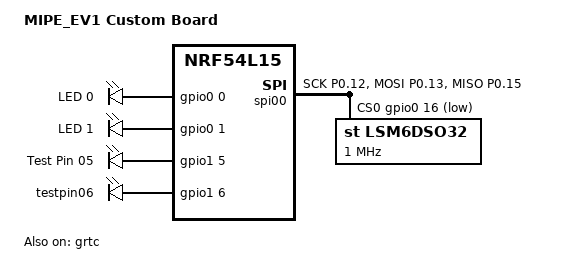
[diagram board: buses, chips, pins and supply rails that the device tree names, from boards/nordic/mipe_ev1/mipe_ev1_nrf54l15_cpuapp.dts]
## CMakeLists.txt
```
# SPDX-License-Identifier: Apache-2.0

cmake_minimum_required(VERSION 3.20.0)

# Tell Zephyr where to find our custom board
list(APPEND BOARD_ROOT ${CMAKE_CURRENT_SOURCE_DIR})

find_package(Zephyr REQUIRED HINTS $ENV{ZEPHYR_BASE})
project(mipe_ev1_gpio_test)

target_sources(app PRIVATE src/main.c)
```

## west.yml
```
manifest:
  version: "0.13"

  defaults:
    remote: ncs

  remotes:
    - name: ncs
      url-base: https://github.com/nrfconnect

  projects:
    - name: nrf
      remote: ncs
      path: nrf
      revision: v2.8.0
    - name: zephyr
      remote: ncs
      path: zephyr
      revision: v3.7.99-ncs1
    - name: mcuboot
      remote: ncs
      path: bootloader/mcuboot
      revision: v2.1.0+ncs1
    - name: nrfxlib
      remote: ncs
      path: nrfxlib
      revision: v2.8.0
    - name: trusted-firmware-m
      remote: ncs
      path: modules/tee/tf-m/trusted-firmware-m
      revision: v2.0.0+ncs1

  self:
    path: mipe_ev1_app
```

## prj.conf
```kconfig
# MIPE_EV1 Milestone 1: GPIO Test
# Minimal configuration - GPIO only, no timers, no sleep

# Disable crypto/security
CONFIG_BUILD_WITH_TFM=n
CONFIG_NRF_SECURITY=n

# Enable GPIO driver
CONFIG_GPIO=y

# Re-enable System Timer for k_msleep() functionality
CONFIG_SYS_CLOCK_EXISTS=y
CONFIG_TICKLESS_KERNEL=y
CONFIG_NRF_GRTC_TIMER=y

# Disable ALL watchdogs and resets
CONFIG_WATCHDOG=n
CONFIG_WDT_DISABLE_AT_BOOT=y
CONFIG_WDT_NRFX=n

# RTT Logging for Hardware Monitoring
CONFIG_USE_SEGGER_RTT=y
CONFIG_CONSOLE=y
CONFIG_RTT_CONSOLE=y
CONFIG_UART_CONSOLE=n
CONFIG_LOG=y
CONFIG_LOG_BACKEND_RTT=y
CONFIG_LOG_BACKEND_UART=n
CONFIG_LOG_MODE_IMMEDIATE=y
CONFIG_LOG_TIMESTAMP_64BIT=y

# Disable power management
CONFIG_PM=n
CONFIG_PM_DEVICE=n

# Disable system init levels that might cause issues
CONFIG_KERNEL_INIT_PRIORITY_DEFAULT=50
```

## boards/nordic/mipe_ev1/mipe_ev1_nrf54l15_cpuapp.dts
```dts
/*
 * Copyright (c) 2025 MIPE_EV1 Project
 * SPDX-License-Identifier: Apache-2.0
 */

/dts-v1/;

#include <nordic/nrf54l15_cpuapp.dtsi>

/ {
	model = "MIPE_EV1 Custom Board";
	compatible = "mipe,mipe-ev1";

	chosen {
		zephyr,sram = &cpuapp_sram;
		zephyr,flash = &cpuapp_rram;
		zephyr,code-partition = &slot0_partition;
	};

	leds {
		compatible = "gpio-leds";
		led0: led_0 {
			gpios = <&gpio0 0 GPIO_ACTIVE_HIGH>;
			label = "LED 0";
		};
		led1: led_1 {
			gpios = <&gpio0 1 GPIO_ACTIVE_HIGH>;
			label = "LED 1";
		};
	};

	test_pins {
		compatible = "gpio-leds";
		testpin05: test_pin_05 {
			gpios = <&gpio1 5 GPIO_ACTIVE_HIGH>;
			label = "Test Pin 05";
		};
		testpin06: test_pin_06 {
			gpios = <&gpio1 6 GPIO_ACTIVE_HIGH>;
		};
	};

	/* SPI pinctrl configuration for LSM6DSO32 */
	pinctrl {
		compatible = "nordic,nrf-pinctrl";

		/omit-if-no-ref/ spi00_default: spi00_default {
			group1 {
				psels = <NRF_PSEL(SPIM_SCK, 0, 12)>,   /* P2.01 = pin 12 */
				        <NRF_PSEL(SPIM_MOSI, 0, 13)>,  /* P2.02 = pin 13 */
				        <NRF_PSEL(SPIM_MISO, 0, 15)>;  /* P2.04 = pin 15 */
			};
		};

		/omit-if-no-ref/ spi00_sleep: spi00_sleep {
			group1 {
				psels = <NRF_PSEL(SPIM_SCK, 0, 12)>,   /* P2.01 = pin 12 */
				        <NRF_PSEL(SPIM_MOSI, 0, 13)>,  /* P2.02 = pin 13 */
				        <NRF_PSEL(SPIM_MISO, 0, 15)>;  /* P2.04 = pin 15 */
				low-power-enable;
			};
		};
	};

	aliases {
		led0 = &led0;
		led1 = &led1;
		testpin05 = &testpin05;
		testpin06 = &testpin06;
	};
};

/* Enable GPIO ports */
&gpio0 {
	status = "okay";
};

&gpio1 {
	status = "okay";
};

&gpio2 {
	status = "okay";
};

/* Enable GPIOTE instances - REQUIRED for GPIO operations */
&gpiote20 {
	status = "okay";
};

&gpiote30 {
	status = "okay";
};

/* Enable SPI for LSM6DSO32 sensor communication */
&spi00 {
	status = "okay";
	cs-gpios = <&gpio0 16 GPIO_ACTIVE_LOW>;  /* P2.05 = pin 16 */
	pinctrl-0 = <&spi00_default>;
	pinctrl-1 = <&spi00_sleep>;
	pinctrl-names = "default", "sleep";

	lsm6dso32: lsm6dso32@0 {
		compatible = "st,lsm6dso32";
		reg = <0>;
		spi-max-frequency = <1000000>; /* 1MHz for stable communication */
		label = "LSM6DSO32";
	};
};

/* Re-enable GRTC timer - minimal required configuration */
&grtc {
	owned-channels = <0>;
	status = "okay";
};

/* Include partition configuration */
#include <nordic/nrf54l15_partition.dtsi>
```

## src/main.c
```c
/**
 * MIPE_EV1 Cloud Automation Ready!
 * Cloud testing optimization complete
 * Testing simplified automation: run firmware and log it
 * Proven 23ms timing pattern from MIPE_EV1
 * RTT Hardware Monitoring Integration
 */

#include <zephyr/kernel.h>
#include <zephyr/device.h>
#include <zephyr/drivers/gpio.h>
#include <zephyr/logging/log.h>
#include <zephyr/sys/printk.h>

LOG_MODULE_REGISTER(mipe_ev1_gpio, LOG_LEVEL_DBG);

/* LEDs on P0.00 and P0.01 */
static const struct gpio_dt_spec led0 = GPIO_DT_SPEC_GET(DT_ALIAS(led0), gpios);
static const struct gpio_dt_spec led1 = GPIO_DT_SPEC_GET(DT_ALIAS(led1), gpios);

/* Test pins on P1.05 and P1.06 */
static const struct gpio_dt_spec test_pin05 = GPIO_DT_SPEC_GET(DT_ALIAS(testpin05), gpios);
static const struct gpio_dt_spec test_pin06 = GPIO_DT_SPEC_GET(DT_ALIAS(testpin06), gpios);

int main(void)
{
    LOG_INF("🚀 MIPE_EV1 GPIO Test Started - Hardware Monitoring Active");
    LOG_INF("⏱️  Target timing: 23ms toggle cycles");
    LOG_INF("📊 RTT timestamping enabled for Actions monitoring");
    
    /* Configure pin directions - PROVEN pattern */
    LOG_DBG("🔧 Configuring GPIO pins...");
    gpio_pin_configure_dt(&led0, GPIO_OUTPUT);
    gpio_pin_configure_dt(&led1, GPIO_OUTPUT);
    gpio_pin_configure_dt(&test_pin05, GPIO_OUTPUT);
    gpio_pin_configure_dt(&test_pin06, GPIO_OUTPUT);
    LOG_INF("✅ GPIO configuration complete");

    /* Set initial states - all LOW */
    LOG_DBG("🔽 Setting initial pin states to LOW");
    gpio_pin_set_dt(&led0, 0);
    gpio_pin_set_dt(&led1, 0);
    gpio_pin_set_dt(&test_pin05, 0);
    gpio_pin_set_dt(&test_pin06, 0);
    LOG_INF("✅ Initial states set - pins ready for testing");

    bool led_state = false;
    uint32_t counter = 0;
    uint32_t cycle_count = 0;
    const uint32_t toggle_threshold = 1000000;  /* Proven 23ms timing from EV1 */
    
    LOG_INF("🔄 Starting GPIO toggle loop - monitoring for Actions");
    LOG_INF("📈 Toggle threshold: %u cycles (≈23ms)", toggle_threshold);
    
    while (1) {
        counter++;
        
        if (counter >= toggle_threshold) {
            cycle_count++;
            
            /* Log every 10th cycle for Actions monitoring */
            if (cycle_count % 10 == 0) {
                LOG_INF("🔄 Cycle %u: Toggling pins (23ms timing verified)", cycle_count);
            }
            
            /* Toggle all pins with proven pattern */
            led_state = !led_state;
            LOG_DBG("📍 Toggle event: state=%s, cycle=%u", 
                    led_state ? "HIGH" : "LOW", cycle_count);
                    
            gpio_pin_set_dt(&led0, led_state ? 1 : 0);
            gpio_pin_set_dt(&led1, led_state ? 0 : 1);  /* Opposite phase */
            gpio_pin_set_dt(&test_pin05, led_state ? 1 : 0);  /* Same as LED0 */
            gpio_pin_set_dt(&test_pin06, led_state ? 0 : 1);  /* Same as LED1 */
            
            /* Log timing validation for Actions */
            if (cycle_count % 50 == 0) {
                LOG_INF("⏱️  Timing validation: %u cycles completed (≈%ums total)", 
                        cycle_count, cycle_count * 23);
            }
            
            counter = 0;
        }
    }

    return 0;
}
```

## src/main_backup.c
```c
/**
 * MIPE_EV1 - Timer Test
 * 200ms LED flashing + GPIO control
 */

#include <zephyr/kernel.h>
#include <zephyr/device.h>
#include <zephyr/drivers/gpio.h>

/* LEDs on P0.00 and P0.01 */
static const struct gpio_dt_spec led0 = GPIO_DT_SPEC_GET(DT_ALIAS(led0), gpios);
static const struct gpio_dt_spec led1 = GPIO_DT_SPEC_GET(DT_ALIAS(led1), gpios);

/* Test pins on P1.05 and P1.06 */
static const struct gpio_dt_spec test_pin05 = GPIO_DT_SPEC_GET(DT_ALIAS(testpin05), gpios);
static const struct gpio_dt_spec test_pin06 = GPIO_DT_SPEC_GET(DT_ALIAS(testpin06), gpios);

int main(void)
{
	/* Configure all pins as outputs using correct pattern */
	gpio_pin_configure_dt(&led0, GPIO_OUTPUT);         /* P0.00 LED */
	gpio_pin_configure_dt(&led1, GPIO_OUTPUT);         /* P0.01 LED */
	gpio_pin_configure_dt(&test_pin05, GPIO_OUTPUT);   /* P1.05 */
	gpio_pin_configure_dt(&test_pin06, GPIO_OUTPUT);   /* P1.06 */
	
	/* Set initial states - all LOW */
	gpio_pin_set_dt(&led0, 0);         /* Start OFF */
	gpio_pin_set_dt(&led1, 0);         /* Start OFF */
	gpio_pin_set_dt(&test_pin05, 0);   /* Start LOW */
	gpio_pin_set_dt(&test_pin06, 0);   /* Start LOW */

	bool led_state = false;

	/* Busy-wait control loop - NO k_msleep for accurate timing */
	uint32_t counter = 0;
	const uint32_t toggle_threshold = 1000000;  /* Adjust for desired timing */
	
	while (1) {
		/* Increment counter for timing */
		counter++;
		
		/* Toggle every threshold cycles */
		if (counter >= toggle_threshold) {
			led_state = !led_state;
			gpio_pin_set_dt(&led0, led_state ? 1 : 0);
			gpio_pin_set_dt(&led1, led_state ? 0 : 1);  /* Opposite phase */
			
			/* Copy LED0 behavior to P1.05 for scope measurement */
			gpio_pin_set_dt(&test_pin05, led_state ? 1 : 0);  /* Same as LED0 */
			
			/* P1.06 gets opposite pattern for comparison */
			gpio_pin_set_dt(&test_pin06, led_state ? 0 : 1);  /* Same as LED1 */
			
			counter = 0;  /* Reset counter */
		}
	}

	return 0;
}
```

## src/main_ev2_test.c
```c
/**
 * MIPE_EV2 Test - GPIO Test  
 * Proven 23ms timing pattern from MIPE_EV1
 */

#include <zephyr/kernel.h>
#include <zephyr/device.h>
#include <zephyr/drivers/gpio.h>

/* LEDs on P0.00 and P0.01 */
static const struct gpio_dt_spec led0 = GPIO_DT_SPEC_GET(DT_ALIAS(led0), gpios);
static const struct gpio_dt_spec led1 = GPIO_DT_SPEC_GET(DT_ALIAS(led1), gpios);

/* Test pins on P1.05 and P1.06 */
static const struct gpio_dt_spec test_pin05 = GPIO_DT_SPEC_GET(DT_ALIAS(testpin05), gpios);
static const struct gpio_dt_spec test_pin06 = GPIO_DT_SPEC_GET(DT_ALIAS(testpin06), gpios);

int main(void)
{
    /* Configure pin directions - PROVEN pattern */
    gpio_pin_configure_dt(&led0, GPIO_OUTPUT);
    gpio_pin_configure_dt(&led1, GPIO_OUTPUT);
    gpio_pin_configure_dt(&test_pin05, GPIO_OUTPUT);
    gpio_pin_configure_dt(&test_pin06, GPIO_OUTPUT);

    /* Set initial states - all LOW */
    gpio_pin_set_dt(&led0, 0);
    gpio_pin_set_dt(&led1, 0);
    gpio_pin_set_dt(&test_pin05, 0);
    gpio_pin_set_dt(&test_pin06, 0);

    bool led_state = false;
    uint32_t counter = 0;
    const uint32_t toggle_threshold = 1000000;  /* Proven 23ms timing from EV1 */
    
    while (1) {
        counter++;
        
        if (counter >= toggle_threshold) {
            led_state = !led_state;
            gpio_pin_set_dt(&led0, led_state ? 1 : 0);
            gpio_pin_set_dt(&led1, led_state ? 0 : 1);  /* Opposite phase */
            gpio_pin_set_dt(&test_pin05, led_state ? 1 : 0);  /* Same as LED0 */
            gpio_pin_set_dt(&test_pin06, led_state ? 0 : 1);  /* Same as LED1 */
            counter = 0;
        }
    }

    return 0;
}
```
